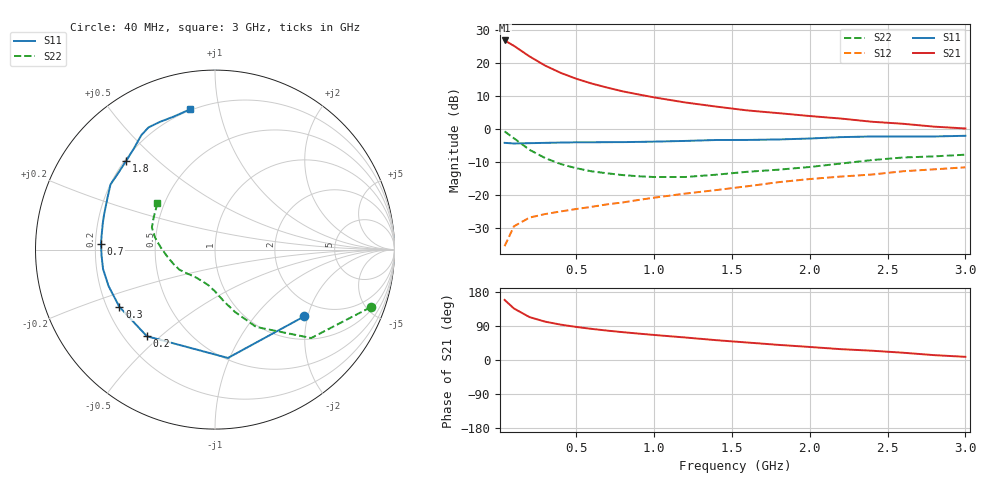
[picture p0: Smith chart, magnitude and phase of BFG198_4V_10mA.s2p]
! Filename:  BFG198A.S2P  Version:  2.0
! Philips part #: BFG198  Date: Jul 1990
! Bias condition: Vce=4V, Ic=10mA
#  MHz  S  MA  R  50
! Freq  S11  S21  S12  S22  !GUM [dB]
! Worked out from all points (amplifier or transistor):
!   21 points, 40 MHz to 3 GHz, reference 50 ohm
!   highest |S21| = 26.8 dB at 40 MHz (marker M1)
!   |S21| within 3 dB of that: start of sweep to 142.9 MHz
!   unconditionally stable (mu >= 1): 730.3 MHz to end of sweep
!   at 300 MHz: K = 0.57, MSG = 22.5 dB, |S12| = -25.7 dB
!   at 1 GHz: K = 1.11, MAG = 13.2 dB, |S12| = -20.7 dB
!   at 3 GHz: K = 1.03, MAG = 4.9 dB, |S12| = -11.5 dB
!   S11 on the Smith chart (normalised r, x): 40 MHz: 1.57, -1.90; 200 MHz: 0.29, -0.45; 300 MHz: 0.25, -0.26; 700 MHz: 0.22, +0.02; 1.8 GHz: 0.21, +0.40; 3 GHz: 0.19, +0.82
40  0.621 -36.8  21.96 158.5  0.017 72.2  0.925 -20.3
100  0.608 -83.2  18.21 135.9  0.034 54.8  0.728 -42.6
200  0.614 -128.2  12.6 113.2  0.046 44.6  0.488 -62.0
300  0.621 -149.1  9.163 101.2  0.052 41.7  0.366 -72.1
400  0.627 -161.2  7.109 93.3  0.057 43.9  0.297 -79.6
500  0.633 -170.2  5.789 87.3  0.062 45.7  0.257 -85.4
600  0.633 -177.0  4.895 82.1  0.067 48.0  0.23 -90.6
700  0.636 177.0  4.249 77.5  0.073 50.7  0.215 -95.7
800  0.637 172.0  3.726 73.4  0.078 52.5  0.202 -100.5
900  0.642 167.0  3.352 69.7  0.085 54.9  0.194 -106.5
1000  0.648 162.5  3.027 66.1  0.092 56.3  0.189 -113.1
1200  0.664 154.6  2.534 59.4  0.106 58.4  0.189 -126.8
1400  0.686 148.1  2.194 52.3  0.12 59.8  0.205 -139.6
1600  0.687 142.1  1.92 46.1  0.137 61.8  0.227 -150.2
1800  0.699 135.2  1.746 39.9  0.158 60.0  0.244 -160.4
2000  0.722 128.8  1.58 34.4  0.176 60.0  0.268 -171.4
2200  0.758 122.8  1.447 28.6  0.192 58.1  0.302 177.8
2400  0.775 118.6  1.295 24.5  0.206 57.9  0.341 168.7
2600  0.775 113.5  1.206 19.2  0.231 54.8  0.373 160.5
2800  0.776 107.2  1.092 12.8  0.247 49.8  0.388 151.2
3000  0.794 100.0  1.024 8.4  0.265 48.3  0.411 141.3
